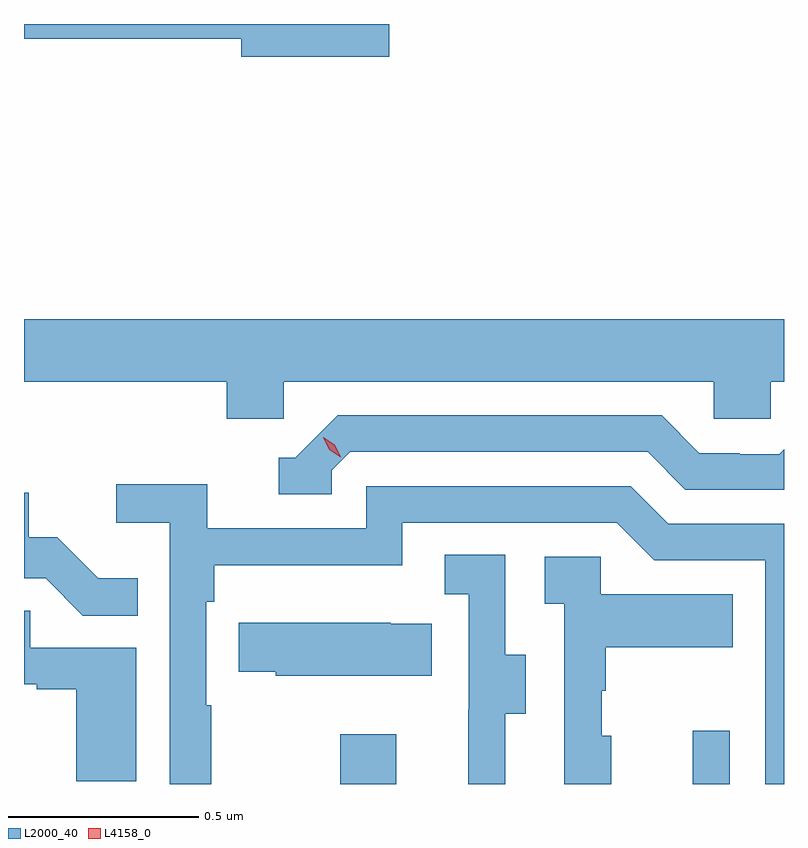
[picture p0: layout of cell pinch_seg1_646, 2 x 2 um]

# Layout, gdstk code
import gdstk
lib = gdstk.Library(unit=1e-6, precision=1e-09)
def R(c, l, rs):  # rectangles x0, y0, x1, y1
    for r in rs: c.add(gdstk.rectangle(r[:2], r[2:], *l))
def P(c, l, *ps):  # polygons
    for p in ps: c.add(gdstk.Polygon(p, *l))
L2000_40 = (2000, 40)
L4158_0 = (4158, 0)

pinch_seg1_646 = lib.new_cell('pinch_seg1_646')
R(pinch_seg1_646, L2000_40, [(1091.122,510.713,1091.269,510.844), (1092.05,510.713,1092.147,510.853)])
P(pinch_seg1_646, L2000_40, [(1091.251,512.713),(1090.29,512.713),(1090.29,512.674),(1090.862,512.674),(1090.862,512.627),(1091.251,512.627)],
  [(1090.974,511.772),(1092.105,511.772),(1092.105,511.674),(1092.255,511.674),(1092.255,511.772),(1092.29,511.772),(1092.29,511.936),(1090.29,511.936),(1090.29,511.772),(1090.823,511.772),(1090.823,511.674),(1090.974,511.674)],
  [(1091.1,511.539),(1091.148,511.587),(1091.931,511.587),(1092.03,511.488),(1092.29,511.488),(1092.29,511.594),(1092.277,511.581),(1092.174,511.581),(1092.174,511.584),(1092.067,511.584),(1091.968,511.683),(1091.115,511.683),(1091.004,511.572),(1090.961,511.572),(1090.961,511.476),(1091.1,511.476)],
  [(1090.783,510.92),(1090.77,510.92),(1090.77,511.193),(1090.79,511.193),(1090.79,511.289),(1091.286,511.289),(1091.286,511.401),(1091.85,511.401),(1091.949,511.302),(1092.24,511.302),(1092.24,510.713),(1092.29,510.713),(1092.29,511.398),(1091.986,511.398),(1091.887,511.497),(1091.19,511.497),(1091.19,511.386),(1090.772,511.386),(1090.772,511.502),(1090.533,511.502),(1090.533,511.4),(1090.674,511.4),(1090.674,510.713),(1090.783,510.713)],
  [(1090.589,511.255),(1090.485,511.255),(1090.378,511.362),(1090.302,511.362),(1090.302,511.479),(1090.29,511.479),(1090.29,511.254),(1090.347,511.254),(1090.445,511.156),(1090.589,511.156)],
  [(1091.557,510.898),(1091.611,510.898),(1091.611,511.053),(1091.556,511.053),(1091.556,511.316),(1091.397,511.316),(1091.397,511.213),(1091.46,511.213),(1091.46,510.909),(1091.459,510.909),(1091.459,510.713),(1091.557,510.713)],
  [(1091.836,510.84),(1091.811,510.84),(1091.811,510.959),(1091.821,510.959),(1091.821,511.073),(1092.155,511.073),(1092.155,511.213),(1091.808,511.213),(1091.808,511.311),(1091.661,511.311),(1091.661,511.187),(1091.712,511.187),(1091.712,510.713),(1091.836,510.713)],
  [(1090.585,511.071),(1090.307,511.071),(1090.307,511.169),(1090.29,511.169),(1090.29,510.975),(1090.323,510.975),(1090.323,510.963),(1090.427,510.963),(1090.427,510.72),(1090.585,510.72)],
  [(1091.363,511.135),(1091.255,511.135),(1091.255,511.138),(1090.855,511.138),(1090.855,511.009),(1090.953,511.009),(1090.953,510.998),(1091.363,510.998)])
P(pinch_seg1_646, L4158_0, [(1091.123,511.573),(1091.093,511.593),(1091.078,511.625),(1091.078,511.626),(1091.078,511.626),(1091.108,511.606),(1091.124,511.573),(1091.124,511.573)])

lib.write_gds('pinch_seg1_646.gds')
